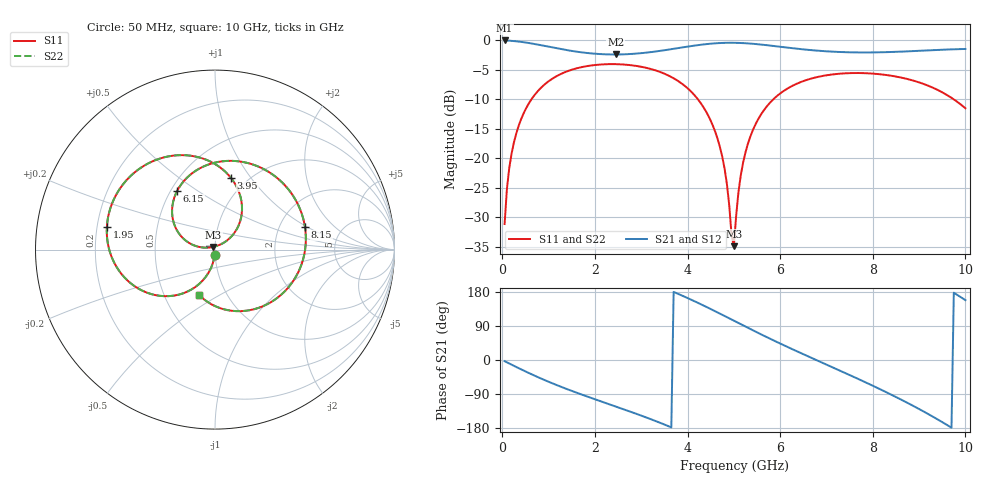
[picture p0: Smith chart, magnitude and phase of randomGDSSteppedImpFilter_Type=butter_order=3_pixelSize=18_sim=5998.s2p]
! freq	dB(S11)	phase(S11)	dB(S12)	phase(S12)
!  dB(S21)	phase(S21)	dB(S22)	phase(S22)
!S-par simulation data
#  GHz  S  DB  R 50
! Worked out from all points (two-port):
!   200 points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, 50 MHz to 10 GHz, reference 50 ohm
!   highest |S21| = -0.01 dB at 50 MHz (marker M1); lowest = -2.4 dB at 2.45 GHz (marker M2)
!   |S21| within 3 dB of the highest: start of sweep to end of sweep
!   lowest |S11| = -34.9 dB at 5 GHz (marker M3), VSWR 1.04, Z = 49 + j1.45 ohm
!   |S11| at or under -10 dB: start of sweep to 629.2 MHz; 4.225 GHz to 5.851 GHz (1.626 GHz wide, 32.3 % of centre); 9.75 GHz to end of sweep
!   |S22| runs from -35.1 to -4.0 dB; largest |S21 - S12| = 0
!   S11 on the Smith chart (normalised r, x): 50 MHz: 1.00, -0.06; 1.95 GHz: 0.24, +0.10; 3.95 GHz: 0.84, +0.81; 6.15 GHz: 0.54, +0.42; 8.15 GHz: 2.77, +0.96; 10 GHz: 0.74, -0.40
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0.05  -31.14 -93.2  -0.01 -3.1  -0.01 -3.1  -31.14 -93.2
0.2  -19.22 -102.8  -0.07 -12.3  -0.07 -12.3  -19.22 -102.8
0.5  -11.72 -120.7  -0.35 -30.1  -0.35 -30.1  -11.72 -120.7
1.05  -6.65 -150.5  -1.14 -60.0  -1.14 -60.0  -6.65 -150.5
1.75  -4.47 176.8  -2.06 -92.7  -2.06 -92.7  -4.47 176.7
1.95  -4.22 168.1  -2.22 -101.4  -2.22 -101.4  -4.21 168.1
2.45  -4.02 146.9  -2.39 -122.7  -2.39 -122.7  -4.02 146.9
3.4  -5.33 104.9  -1.78 -165.3  -1.78 -165.3  -5.33 104.8
3.95  -7.77 77.4  -1.11 166.3  -1.11 166.3  -7.77 77.3
4.65  -16.72 41.2  -0.46 125.4  -0.46 125.4  -16.72 40.9
4.85  -24.34 38.5  -0.40 113.0  -0.40 113.0  -24.36 38.0
5  -34.89 124.8  -0.40 103.7  -0.40 103.7  -35.08 125.2
5.05  -29.72 158.9  -0.41 100.6  -0.41 100.6  -29.78 159.4
5.2  -20.72 170.3  -0.45 91.3  -0.45 91.3  -20.73 170.5
5.4  -15.41 163.1  -0.56 79.0  -0.56 79.0  -15.42 163.1
6.15  -8.19 122.8  -1.21 34.9  -1.21 34.9  -8.20 122.8
6.7  -6.41 93.2  -1.67 4.3  -1.67 4.3  -6.41 93.1
7.4  -5.58 55.7  -1.99 -34.0  -1.99 -34.0  -5.58 55.6
8.15  -5.73 14.2  -2.02 -76.6  -2.02 -76.6  -5.73 14.2
8.35  -5.93 2.6  -1.98 -88.5  -1.98 -88.5  -5.93 2.6
9.1  -7.39 -43.5  -1.73 -136.0  -1.73 -136.0  -7.39 -43.4
10  -11.50 -109.9  -1.45 157.9  -1.45 157.9  -11.49 -109.4
